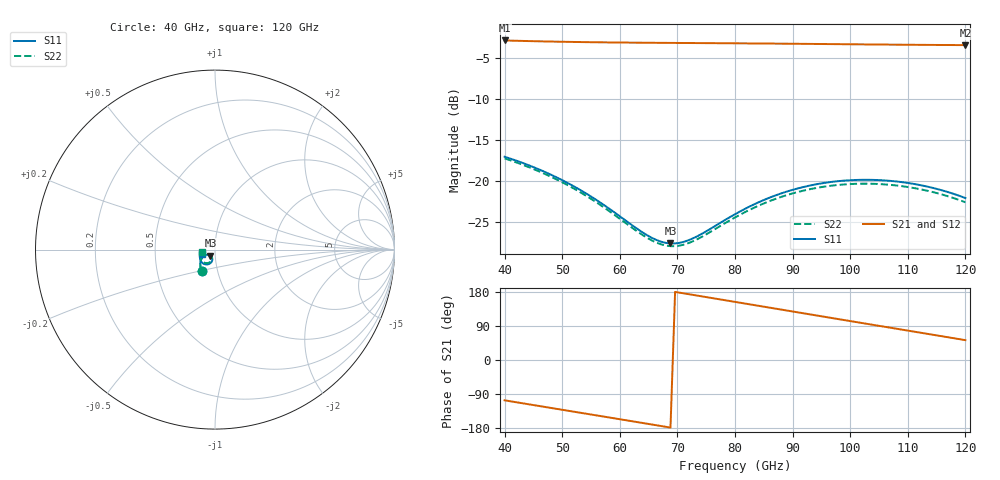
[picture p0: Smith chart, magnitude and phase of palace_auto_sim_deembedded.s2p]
! Created with skrf 1.11.0 (http://scikit-rf.org).
# GHz S DB R 50.0
!freq dBS11 angS11 dBS21 angS21 dBS12 angS12 dBS22 angS22
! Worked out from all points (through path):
!   101 points, 40 GHz to 120 GHz, reference 50 ohm
!   highest |S21| = -2.82 dB at 40 GHz (marker M1); lowest = -3.4 dB at 120 GHz (marker M2)
!   group delay of S21, straight-line fit = 7 ps
!   lowest |S11| = -27.6 dB at 68.8 GHz (marker M3), VSWR 1.09, Z = 47.4 - j3.13 ohm
!   |S11| at or under -10 dB: start of sweep to end of sweep
!   |S22| runs from -27.9 to -17.2 dB; largest |S21 - S12| = 8e-14
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40  -17.00 -120.4  -2.82 -106.4  -2.82 -106.4  -17.20 -121.3
46.4  -18.67 -134.9  -2.93 -122.4  -2.93 -122.4  -18.91 -136.1
53.6  -21.24 -147.0  -3.02 -140.3  -3.02 -140.3  -21.52 -148.5
57.6  -23.05 -150.1  -3.06 -150.3  -3.06 -150.3  -23.35 -151.9
60.8  -24.66 -149.3  -3.08 -158.3  -3.08 -158.3  -24.97 -151.3
64.8  -26.59 -142.2  -3.10 -168.3  -3.10 -168.3  -26.90 -144.5
67.2  -27.36 -134.2  -3.12 -174.3  -3.12 -174.3  -27.68 -136.7
68.8  -27.57 -127.9  -3.12 -178.3  -3.12 -178.3  -27.90 -130.6
70.4  -27.49 -121.6  -3.13 177.6  -3.13 177.6  -27.83 -124.4
72.8  -26.91 -113.5  -3.14 171.6  -3.14 171.6  -27.27 -116.5
76  -25.67 -106.9  -3.15 163.5  -3.15 163.5  -26.04 -110.1
80  -24.01 -104.6  -3.17 153.4  -3.17 153.4  -24.40 -108.1
83.2  -22.84 -106.0  -3.19 145.3  -3.19 145.3  -23.25 -109.7
87.2  -21.67 -110.1  -3.21 135.1  -3.21 135.1  -22.09 -114.1
93.6  -20.42 -119.6  -3.25 118.9  -3.25 118.9  -20.87 -124.0
97.6  -20.00 -126.4  -3.27 108.8  -3.27 108.8  -20.46 -131.0
100.8  -19.83 -132.0  -3.29 100.8  -3.29 100.8  -20.30 -136.8
104  -19.82 -137.6  -3.31 92.7  -3.31 92.7  -20.30 -142.7
107.2  -19.95 -143.1  -3.33 84.6  -3.33 84.6  -20.44 -148.4
110.4  -20.24 -148.4  -3.35 76.6  -3.35 76.6  -20.73 -153.9
113.6  -20.67 -153.4  -3.37 68.5  -3.37 68.5  -21.18 -159.1
120  -22.03 -161.6  -3.39 52.4  -3.39 52.4  -22.55 -167.7
